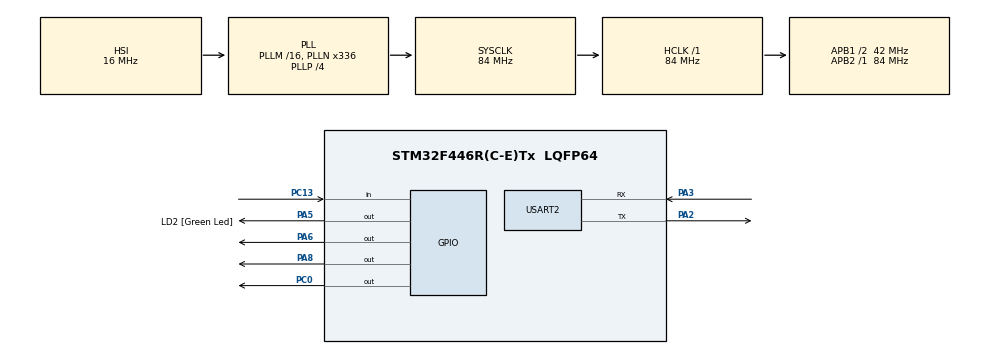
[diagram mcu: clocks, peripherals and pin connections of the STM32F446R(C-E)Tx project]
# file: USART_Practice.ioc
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Mcu.Family=STM32F4
Mcu.Name=STM32F446R(C-E)Tx
Mcu.Package=LQFP64
NVIC.PriorityGroup=NVIC_PRIORITYGROUP_0
PA13.GPIO_Label=TMS
PA13.Signal=SYS_JTMS-SWDIO
PA14.GPIO_Label=TCK
PA14.Signal=SYS_JTCK-SWCLK
PA2.Mode=Asynchronous
PA2.Signal=USART2_TX
PA3.Mode=Asynchronous
PA3.Signal=USART2_RX
PA5.GPIO_Label=LD2 [Green Led]
PA5.Signal=GPIO_Output
PA6.Signal=GPIO_Output
PA8.Signal=GPIO_Output
PB3.GPIO_Label=SWO
PB3.Signal=SYS_JTDO-SWO
PC0.GPIO_PuPd=GPIO_PULLUP
PC0.Signal=GPIO_Output
PC13.Signal=GPIO_Input
ProjectManager.HeapSize=0x200
ProjectManager.StackSize=0x400
ProjectManager.TargetToolchain=EWARM
RCC.AHBFreq_Value=84000000
RCC.APB1CLKDivider=RCC_HCLK_DIV2
RCC.APB1Freq_Value=42000000
RCC.APB1TimFreq_Value=84000000
RCC.APB2Freq_Value=84000000
RCC.APB2TimFreq_Value=84000000
RCC.CortexFreq_Value=84000000
RCC.FLatency-AdvancedSettings=FLASH_LATENCY_2
RCC.HCLKFreq_Value=84000000
RCC.HSE_VALUE=8000000
RCC.HSI_VALUE=16000000
RCC.LSE_VALUE=32768
RCC.PLLN=336
RCC.PLLP=RCC_PLLP_DIV4
RCC.SYSCLKFreq_VALUE=84000000
RCC.SYSCLKSource=RCC_SYSCLKSOURCE_PLLCLK
RCC.USBFreq_Value=168000000
RCC.VCOOutputFreq_Value=336000000
USART2.VirtualMode=VM_ASYNC
board=NUCLEO-F446RE

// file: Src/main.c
/**
  ******************************************************************************
  * File Name          : main.c
  * Description        : Main program body
  ******************************************************************************
  ** This notice applies to any and all portions of this file
  * that are not between comment pairs USER CODE BEGIN and
  * USER CODE END. Other portions of this file, whether
  * inserted by the user or by software development tools
  * are owned by their respective copyright owners.
  *
  * COPYRIGHT(c) 2018 STMicroelectronics
  *
  * Redistribution and use in source and binary forms, with or without modification,
  * are permitted provided that the following conditions are met:
  *   1. Redistributions of source code must retain the above copyright notice,
  *      this list of conditions and the following disclaimer.
  *   2. Redistributions in binary form must reproduce the above copyright notice,
  *      this list of conditions and the following disclaimer in the documentation
  *      and/or other materials provided with the distribution.
  *   3. Neither the name of STMicroelectronics nor the names of its contributors
  *      may be used to endorse or promote products derived from this software
  *      without specific prior written permission.
  *
  * THIS SOFTWARE IS PROVIDED BY THE COPYRIGHT HOLDERS AND CONTRIBUTORS "AS IS"
  * AND ANY EXPRESS OR IMPLIED WARRANTIES, INCLUDING, BUT NOT LIMITED TO, THE
  * IMPLIED WARRANTIES OF MERCHANTABILITY AND FITNESS FOR A PARTICULAR PURPOSE ARE
  * DISCLAIMED. IN NO EVENT SHALL THE COPYRIGHT HOLDER OR CONTRIBUTORS BE LIABLE
  * FOR ANY DIRECT, INDIRECT, INCIDENTAL, SPECIAL, EXEMPLARY, OR CONSEQUENTIAL
  * DAMAGES (INCLUDING, BUT NOT LIMITED TO, PROCUREMENT OF SUBSTITUTE GOODS OR
  * SERVICES; LOSS OF USE, DATA, OR PROFITS; OR BUSINESS INTERRUPTION) HOWEVER
  * CAUSED AND ON ANY THEORY OF LIABILITY, WHETHER IN CONTRACT, STRICT LIABILITY,
  * OR TORT (INCLUDING NEGLIGENCE OR OTHERWISE) ARISING IN ANY WAY OUT OF THE USE
  * OF THIS SOFTWARE, EVEN IF ADVISED OF THE POSSIBILITY OF SUCH DAMAGE.
  *
  ******************************************************************************
  */

#include "main.h"
#include "stm32f4xx_hal.h"

/* USER CODE BEGIN Includes */
#include "USART.h"
#include "stdlib.h"
#include "stm32f4xx_hal_uart.h"
/* USER CODE END Includes */

UART_HandleTypeDef huart2;

/* USER CODE BEGIN PV */
/* Private variables ---------------------------------------------------------*/
int32_t count1 = 0;
int32_t count2 = 0;

UART_HandleTypeDef huart2;
/* USER CODE END PV */

void SystemClock_Config(void);
static void MX_GPIO_Init(void);
static void MX_USART2_UART_Init(void);

/* USER CODE BEGIN PFP */
/* Private function prototypes -----------------------------------------------*/
void USART2_Init(void);
char uart_getc();
void uart_putc(char);
void uart_puts(char *);
void uart_putv(int32_t);

/* USER CODE END PFP */

/* USER CODE BEGIN 0 */
void HAL_SYSTICK_Callback(void){
  uart_putv(HAL_GetTick());
  uart_puts(",");
  uart_putv(count1);
  uart_puts(",");
  uart_putv(count2);
  uart_puts("\n\r");
  count1 = rand()%10000;
  count2 = rand()%10000;
}

/* USER CODE END 0 */

int main(void)
{

  /* MCU Configuration----------------------------------------------------------*/

  /* Reset of all peripherals, Initializes the Flash interface and the Systick. */
  HAL_Init();

  /* Configure the system clock */
  SystemClock_Config();

  /* Initialize all configured peripherals */
  MX_GPIO_Init();
  MX_USART2_UART_Init();

  /* USER CODE BEGIN 2 */
  USART2_Init();
  uart_puts("x,y\n\r");

  /* USER CODE END 2 */

  /* Infinite loop */
  while (1)
  {

  }

}

/** System Clock Configuration
*/
void SystemClock_Config(void)
{

  RCC_OscInitTypeDef RCC_OscInitStruct;
  RCC_ClkInitTypeDef RCC_ClkInitStruct;

    /**Configure the main internal regulator output voltage
    */
  __HAL_RCC_PWR_CLK_ENABLE();

  __HAL_PWR_VOLTAGESCALING_CONFIG(PWR_REGULATOR_VOLTAGE_SCALE3);

    /**Initializes the CPU, AHB and APB busses clocks
    */
  RCC_OscInitStruct.OscillatorType = RCC_OSCILLATORTYPE_HSI;
  RCC_OscInitStruct.HSIState = RCC_HSI_ON;
  RCC_OscInitStruct.HSICalibrationValue = 16;
  RCC_OscInitStruct.PLL.PLLState = RCC_PLL_ON;
  RCC_OscInitStruct.PLL.PLLSource = RCC_PLLSOURCE_HSI;
  RCC_OscInitStruct.PLL.PLLM = 16;
  RCC_OscInitStruct.PLL.PLLN = 336;
  RCC_OscInitStruct.PLL.PLLP = RCC_PLLP_DIV4;
  RCC_OscInitStruct.PLL.PLLQ = 2;
  RCC_OscInitStruct.PLL.PLLR = 2;
  if (HAL_RCC_OscConfig(&RCC_OscInitStruct) != HAL_OK)
  {
    _Error_Handler(__FILE__, __LINE__);
  }

    /**Initializes the CPU, AHB and APB busses clocks
    */
  RCC_ClkInitStruct.ClockType = RCC_CLOCKTYPE_HCLK|RCC_CLOCKTYPE_SYSCLK
                              |RCC_CLOCKTYPE_PCLK1|RCC_CLOCKTYPE_PCLK2;
  RCC_ClkInitStruct.SYSCLKSource = RCC_SYSCLKSOURCE_PLLCLK;
  RCC_ClkInitStruct.AHBCLKDivider = RCC_SYSCLK_DIV1;
  RCC_ClkInitStruct.APB1CLKDivider = RCC_HCLK_DIV2;
  RCC_ClkInitStruct.APB2CLKDivider = RCC_HCLK_DIV1;

  if (HAL_RCC_ClockConfig(&RCC_ClkInitStruct, FLASH_LATENCY_2) != HAL_OK)
  {
    _Error_Handler(__FILE__, __LINE__);
  }

    /**Configure the Systick interrupt time
    */
  HAL_SYSTICK_Config(HAL_RCC_GetHCLKFreq()/1000);

    /**Configure the Systick
    */
  HAL_SYSTICK_CLKSourceConfig(SYSTICK_CLKSOURCE_HCLK);

  /* SysTick_IRQn interrupt configuration */
  HAL_NVIC_SetPriority(SysTick_IRQn, 0, 0);
}

/* USART2 init function */
static void MX_USART2_UART_Init(void)
{

  huart2.Instance = USART2;
  huart2.Init.BaudRate = 115200;
  huart2.Init.WordLength = UART_WORDLENGTH_8B;
  huart2.Init.StopBits = UART_STOPBITS_1;
  huart2.Init.Parity = UART_PARITY_NONE;
  huart2.Init.Mode = UART_MODE_TX_RX;
  huart2.Init.HwFlowCtl = UART_HWCONTROL_NONE;
  huart2.Init.OverSampling = UART_OVERSAMPLING_16;
  if (HAL_UART_Init(&huart2) != HAL_OK)
  {
    _Error_Handler(__FILE__, __LINE__);
  }

}

/** Configure pins as
        * Analog
        * Input
        * Output
        * EVENT_OUT
        * EXTI
*/
static void MX_GPIO_Init(void)
{

  GPIO_InitTypeDef GPIO_InitStruct;

  /* GPIO Ports Clock Enable */
  __HAL_RCC_GPIOC_CLK_ENABLE();
  __HAL_RCC_GPIOA_CLK_ENABLE();
  __HAL_RCC_GPIOB_CLK_ENABLE();

  /*Configure GPIO pin Output Level */
  HAL_GPIO_WritePin(GPIOC, GPIO_PIN_0, GPIO_PIN_RESET);

  /*Configure GPIO pin Output Level */
  HAL_GPIO_WritePin(GPIOA, LD2_Pin|GPIO_PIN_6|GPIO_PIN_8, GPIO_PIN_RESET);

  /*Configure GPIO pin : PC13 */
  GPIO_InitStruct.Pin = GPIO_PIN_13;
  GPIO_InitStruct.Mode = GPIO_MODE_INPUT;
  GPIO_InitStruct.Pull = GPIO_NOPULL;
  HAL_GPIO_Init(GPIOC, &GPIO_InitStruct);

  /*Configure GPIO pin : PC0 */
  GPIO_InitStruct.Pin = GPIO_PIN_0;
  GPIO_InitStruct.Mode = GPIO_MODE_OUTPUT_PP;
  GPIO_InitStruct.Pull = GPIO_PULLUP;
  GPIO_InitStruct.Speed = GPIO_SPEED_FREQ_LOW;
  HAL_GPIO_Init(GPIOC, &GPIO_InitStruct);

  /*Configure GPIO pins : LD2_Pin PA6 PA8 */
  GPIO_InitStruct.Pin = LD2_Pin|GPIO_PIN_6|GPIO_PIN_8;
  GPIO_InitStruct.Mode = GPIO_MODE_OUTPUT_PP;
  GPIO_InitStruct.Pull = GPIO_NOPULL;
  GPIO_InitStruct.Speed = GPIO_SPEED_FREQ_LOW;
  HAL_GPIO_Init(GPIOA, &GPIO_InitStruct);

}

void _Error_Handler(char * file, int line)
{
  while(1)
  {
  }
}

/************************ (C) COPYRIGHT STMicroelectronics *****END OF FILE****/
